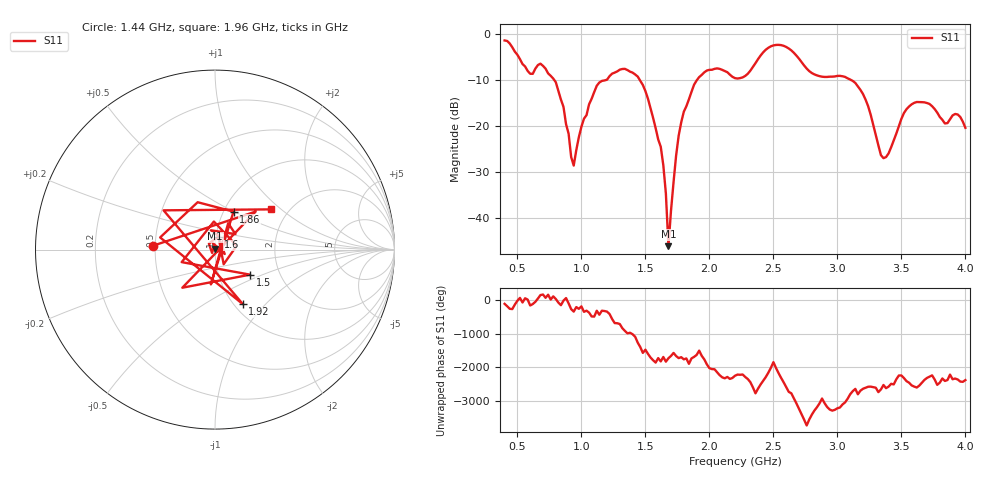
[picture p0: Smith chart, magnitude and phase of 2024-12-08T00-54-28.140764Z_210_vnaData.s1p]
!Created with skrf (http://scikit-rf.org).
# Hz S RI R 50.0
!freq ReS11 ImS11
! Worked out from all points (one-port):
!   181 points, 400 MHz to 4 GHz, reference 50 ohm
!   lowest |S11| = -46.2 dB at 1.68 GHz (marker M1), VSWR 1.01, Z = 50.2 + j0.462 ohm
!   |S11| at or under -10 dB: 788.4 MHz to 1.19 GHz (401.2 MHz wide, 40.6 % of centre); 1.456 GHz to 1.902 GHz (445.9 MHz wide, 26.6 % of centre); 3.108 GHz to end of sweep
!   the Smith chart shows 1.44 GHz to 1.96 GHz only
!   S11 on the Smith chart (normalised r, x): 1.44 GHz: 0.49, +0.02; 1.5 GHz: 1.41, -0.42; 1.6 GHz: 1.03, +0.14; 1.86 GHz: 1.11, +0.50; 1.92 GHz: 1.10, -0.75; 1.96 GHz: 1.63, +0.86
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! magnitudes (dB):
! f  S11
! 400 MHz  -1.4
! 600 MHz  -8.6
! 720 MHz  -7.5
! 860 MHz  -15.8
! 940 MHz  -28.6
! 1 GHz  -20.2
! 1.12 GHz  -11.2
! 1.3 GHz  -7.7
! 1.44 GHz  -9.2
! 1.5 GHz  -12.4
! 1.6 GHz  -22.9
! 1.64 GHz  -28.6
! 1.66 GHz  -34.7
! 1.68 GHz  -46.2
! 1.76 GHz  -22.1
! 1.86 GHz  -12.6
! 1.92 GHz  -9.3
! 1.96 GHz  -8.3
! 2.2 GHz  -9.6
! 2.48 GHz  -2.6
! 2.66 GHz  -4.1
! 2.82 GHz  -8.7
! 3.1 GHz  -9.9
! 3.22 GHz  -14.2
! 3.36 GHz  -27.0
! 3.56 GHz  -15.7
! 3.94 GHz  -17.5
! 4 GHz  -20.4
